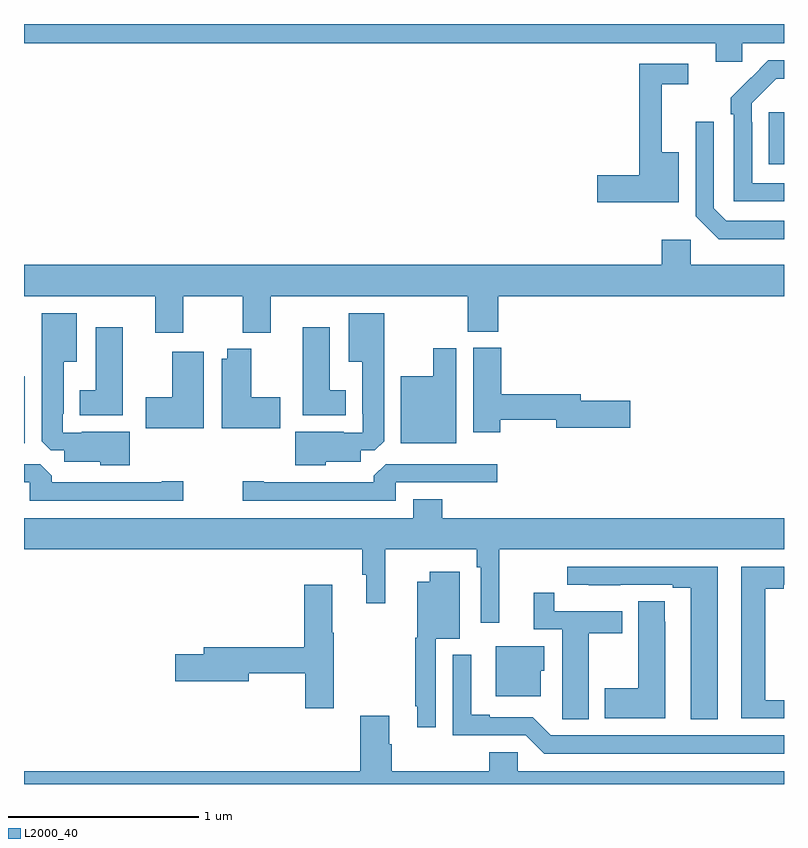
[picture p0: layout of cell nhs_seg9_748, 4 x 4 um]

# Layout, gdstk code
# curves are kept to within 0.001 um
import gdstk
lib = gdstk.Library(unit=1e-6, precision=1e-09)
def R(c, l, rs):  # rectangles x0, y0, x1, y1
    for r in rs: c.add(gdstk.rectangle(r[:2], r[2:], *l))
def P(c, l, *ps):  # polygons
    for p in ps: c.add(gdstk.Polygon(p, *l))
L2000_40 = (2000, 40)

nhs_seg9_748 = lib.new_cell('nhs_seg9_748')
R(nhs_seg9_748, L2000_40, [(149,1214.294,149.005,1214.647), (152.921,1215.761,153,1216.036)])
P(nhs_seg9_748, L2000_40, [(149,1216.4),(152.642,1216.4),(152.642,1216.302),(152.781,1216.302),(152.781,1216.4),(153,1216.4),(153,1216.5),(149,1216.5)],
  [(153,1215.663),(152.832,1215.663),(152.832,1215.983),(152.829,1215.983),(152.829,1216.083),(152.958,1216.212),(153,1216.212),(153,1216.308),(152.918,1216.308),(152.721,1216.113),(152.721,1216.025),(152.736,1216.025),(152.736,1215.567),(153,1215.567)],
  [(152.446,1215.826),(152.357,1215.826),(152.357,1216.182),(152.497,1216.182),(152.497,1216.29),(152.239,1216.29),(152.239,1215.704),(152.016,1215.704),(152.016,1215.562),(152.446,1215.562)],
  [(153,1215.465),(152.697,1215.465),(152.631,1215.531),(152.631,1215.985),(152.535,1215.985),(152.535,1215.489),(152.656,1215.368),(153,1215.368)],
  [(149.838,1215.068),(150.151,1215.068),(150.151,1214.876),(150.298,1214.876),(150.298,1215.068),(151.336,1215.068),(151.336,1214.881),(151.496,1214.881),(151.496,1215.068),(153,1215.068),(153,1215.232),(152.508,1215.232),(152.508,1215.364),(152.357,1215.364),(152.357,1215.232),(149,1215.232),(149,1215.068),(149.69,1215.068),(149.69,1214.874),(149.838,1214.874)],
  [(150.588,1214.195),(150.772,1214.195),(150.772,1214.256),(150.846,1214.256),(150.895,1214.305),(150.895,1214.977),(150.71,1214.977),(150.71,1214.723),(150.779,1214.723),(150.779,1214.449),(150.783,1214.449),(150.783,1214.349),(150.683,1214.349),(150.683,1214.353),(150.428,1214.353),(150.428,1214.177),(150.588,1214.177)],
  [(149.557,1214.353),(149.305,1214.353),(149.305,1214.349),(149.205,1214.349),(149.205,1214.449),(149.209,1214.449),(149.209,1214.723),(149.278,1214.723),(149.278,1214.977),(149.093,1214.977),(149.093,1214.305),(149.142,1214.256),(149.213,1214.256),(149.213,1214.195),(149.4,1214.195),(149.4,1214.177),(149.557,1214.177)],
  [(150.694,1214.572),(150.61,1214.572),(150.61,1214.905),(150.467,1214.905),(150.467,1214.441),(150.694,1214.441)],
  [(149.521,1214.905),(149.378,1214.905),(149.378,1214.572),(149.294,1214.572),(149.294,1214.441),(149.521,1214.441)],
  [(151.506,1214.416),(151.802,1214.416),(151.802,1214.374),(152.191,1214.374),(152.191,1214.516),(151.93,1214.516),(151.93,1214.552),(151.511,1214.552),(151.511,1214.796),(151.364,1214.796),(151.364,1214.352),(151.506,1214.352)],
  [(151.276,1214.794),(151.154,1214.794),(151.154,1214.647),(150.983,1214.647),(150.983,1214.294),(151.276,1214.294)],
  [(150.349,1214.535),(150.196,1214.535),(150.196,1214.791),(150.071,1214.791),(150.071,1214.737),(150.041,1214.737),(150.041,1214.372),(150.349,1214.372)],
  [(149.947,1214.776),(149.78,1214.776),(149.78,1214.535),(149.64,1214.535),(149.64,1214.372),(149.947,1214.372)],
  [(149.839,1214.093),(149.726,1214.093),(149.726,1214.088),(149.147,1214.088),(149.147,1214.122),(149.085,1214.184),(149,1214.184),(149,1214.088),(149.031,1214.088),(149.031,1213.992),(149.839,1213.992)],
  [(150.957,1214.088),(151.492,1214.088),(151.492,1214.184),(150.903,1214.184),(150.842,1214.122),(150.842,1214.088),(150.262,1214.088),(150.262,1214.093),(150.15,1214.093),(150.15,1213.992),(150.957,1213.992)],
  [(151.202,1213.999),(151.049,1213.999),(151.049,1213.9),(149,1213.9),(149,1213.736),(150.781,1213.736),(150.781,1213.602),(150.8,1213.602),(150.8,1213.452),(150.9,1213.452),(150.9,1213.736),(151.384,1213.736),(151.384,1213.64),(151.404,1213.64),(151.404,1213.35),(151.502,1213.35),(151.502,1213.736),(153,1213.736),(153,1213.9),(151.202,1213.9)],
  [(153,1212.942),(152.902,1212.942),(152.902,1213.528),(152.998,1213.528),(152.998,1213.548),(153,1213.548),(153,1213.644),(152.774,1213.644),(152.774,1212.846),(153,1212.846)],
  [(152.65,1213.644),(151.86,1213.644),(151.86,1213.548),(151.972,1213.548),(151.972,1213.547),(152.138,1213.547),(152.138,1213.548),(152.414,1213.548),(152.414,1213.533),(152.51,1213.533),(152.51,1212.841),(152.65,1212.841)],
  [(151.167,1213.265),(151.294,1213.265),(151.294,1213.618),(151.136,1213.618),(151.136,1213.564),(151.07,1213.564),(151.07,1213.269),(151.059,1213.269),(151.059,1212.91),(151.07,1212.91),(151.07,1212.798),(151.167,1212.798)],
  [(150.63,1213.297),(150.622,1213.297),(150.622,1213.549),(150.476,1213.549),(150.476,1213.22),(149.945,1213.22),(149.945,1213.184),(149.796,1213.184),(149.796,1213.042),(150.184,1213.042),(150.184,1213.084),(150.481,1213.084),(150.481,1212.9),(150.63,1212.9)],
  [(151.972,1213.294),(152.149,1213.294),(152.149,1213.41),(151.79,1213.41),(151.79,1213.507),(151.682,1213.507),(151.682,1213.314),(151.832,1213.314),(151.832,1212.952),(151.833,1212.952),(151.833,1212.841),(151.972,1212.841)],
  [(152.374,1213.355),(152.373,1213.355),(152.373,1213.463),(152.234,1213.463),(152.234,1213.005),(152.057,1213.005),(152.057,1212.845),(152.374,1212.845)],
  [(151.72,1213.095),(151.738,1213.095),(151.738,1213.225),(151.484,1213.225),(151.484,1212.962),(151.72,1212.962)],
  [(153,1212.756),(151.773,1212.756),(151.677,1212.852),(151.45,1212.852),(151.45,1212.865),(151.354,1212.865),(151.354,1213.18),(151.257,1213.18),(151.257,1212.756),(151.641,1212.756),(151.737,1212.66),(153,1212.66)],
  [(153,1212.568),(151.599,1212.568),(151.599,1212.666),(151.448,1212.666),(151.448,1212.568),(150.935,1212.568),(150.935,1212.71),(150.922,1212.71),(150.922,1212.859),(150.77,1212.859),(150.77,1212.568),(149,1212.568),(149,1212.5),(153,1212.5)])

lib.write_gds('nhs_seg9_748.gds')
